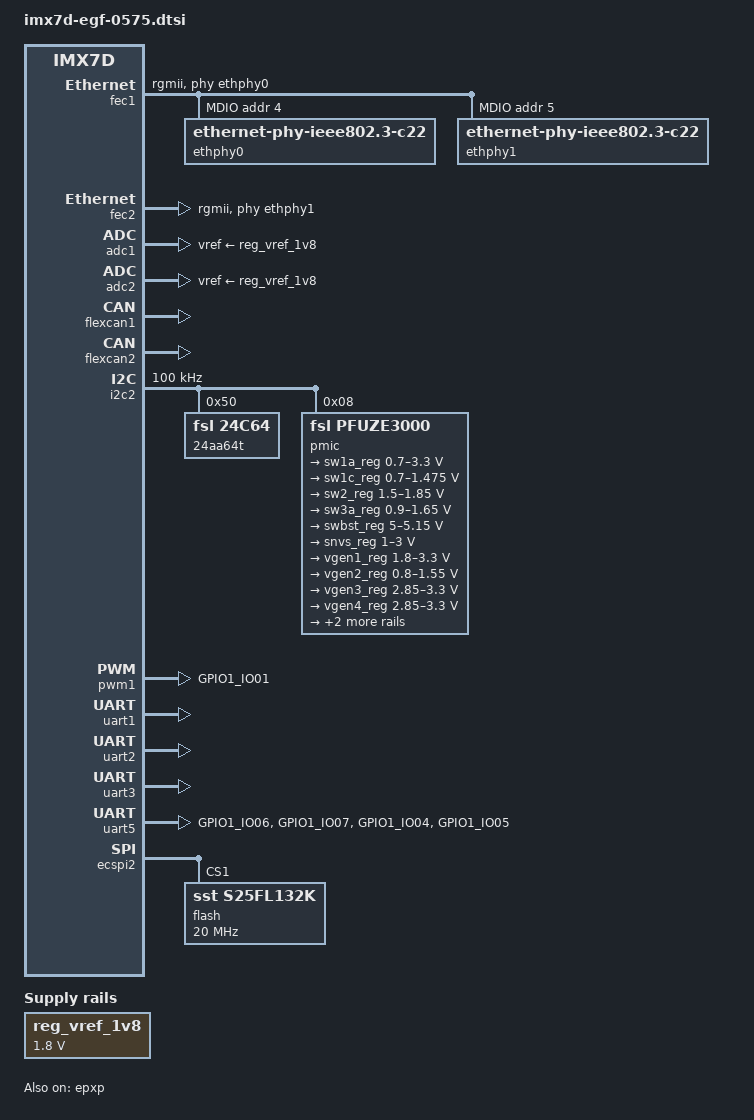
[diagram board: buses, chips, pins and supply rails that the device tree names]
/*
 * Copyright (C) 2015 Freescale Semiconductor, Inc.
 *
 * This program is free software; you can redistribute it and/or modify
 * it under the terms of the GNU General Public License version 2 as
 * published by the Free Software Foundation.
 */

/*
 * Parti in comune ad entrambi i moduli
 */

#include <dt-bindings/input/input.h>
#include "imx7d.dtsi"

/ {

	pxp_v4l2_out {
		compatible = "fsl,imx7d-pxp-v4l2", "fsl,imx6sx-pxp-v4l2", "fsl,imx6sl-pxp-v4l2";
		status = "okay";
	};

	regulators {
		compatible = "simple-bus";
		#address-cells = <1>;
		#size-cells = <0>;

		reg_vref_1v8: regulator@0 {
			compatible = "regulator-fixed";
			reg = <0>;
			regulator-name = "vref-1v8";
			regulator-min-microvolt = <1800000>;
			regulator-max-microvolt = <1800000>;
		};
	};
};


&fec1 {
	pinctrl-names = "default";
	pinctrl-0 = <>;
	assigned-clocks = <&clks IMX7D_ENET1_TIME_ROOT_SRC>,
			  <&clks IMX7D_ENET1_TIME_ROOT_CLK>;
	assigned-clock-parents = <&clks IMX7D_PLL_ENET_MAIN_100M_CLK>;
	assigned-clock-rates = <0>, <100000000>;
	phy-mode = "rgmii";
	phy-handle = <&ethphy0>;
	fsl,magic-packet;
	status = "okay";

	mdio {
		#address-cells = <1>;
		#size-cells = <0>;

		ethphy0: ethernet-phy@4 {
			compatible = "ethernet-phy-ieee802.3-c22";
			reg = <4>;
		};

		ethphy1: ethernet-phy@5 {
			compatible = "ethernet-phy-ieee802.3-c22";
			reg = <5>;
		};
	};
};

&fec2 {
	pinctrl-names = "default";
	pinctrl-0 = <>;
	assigned-clocks = <&clks IMX7D_ENET2_TIME_ROOT_SRC>,
			  <&clks IMX7D_ENET2_TIME_ROOT_CLK>;
	assigned-clock-parents = <&clks IMX7D_PLL_ENET_MAIN_100M_CLK>;
	assigned-clock-rates = <0>, <100000000>;
	phy-mode = "rgmii";
	phy-handle = <&ethphy1>;
	fsl,magic-packet;
	status = "okay";
};

/* adc1 */
&adc1 {
	vref-supply = <&reg_vref_1v8>;
	status = "okay";
};

/* adc2 */
&adc2 {
	vref-supply = <&reg_vref_1v8>;
	status = "okay";
};

&cpu0 {
	arm-supply = <&sw1a_reg>;
};

&epxp {
	status = "okay";
};

/* can1 */
&flexcan1 {
	status = "okay";
};

/* can2 */
&flexcan2 {
	status = "okay";
};

&i2c2 {
	clock-frequency = <100000>;
	pinctrl-names = "default";
	pinctrl-0 = <>;
	status = "okay";
	
	//eeprom factory data (som)
	/* eeprom */
	24aa64t@50 {
		compatible = "fsl,24c64";
		reg = <0x50>;
		pagesize = <32>;
	};
	
	/* pmic */
	pmic: pfuze3000@08 {
		compatible = "fsl,pfuze3000";
		reg = <0x08>;

		regulators {
			sw1a_reg: sw1a {
				regulator-min-microvolt = <700000>;
				regulator-max-microvolt = <3300000>;
				regulator-boot-on;
				regulator-always-on;
				regulator-ramp-delay = <6250>;
			};

			/* use sw1c_reg to align with pfuze100/pfuze200 */
			sw1c_reg: sw1b {
				regulator-min-microvolt = <700000>;
				regulator-max-microvolt = <1475000>;
				regulator-boot-on;
				regulator-always-on;
				regulator-ramp-delay = <6250>;
			};

			sw2_reg: sw2 {
				regulator-min-microvolt = <1500000>;
				regulator-max-microvolt = <1850000>;
				regulator-boot-on;
				regulator-always-on;
			};

			sw3a_reg: sw3 {
				regulator-min-microvolt = <900000>;
				regulator-max-microvolt = <1650000>;
				regulator-boot-on;
				regulator-always-on;
			};

			swbst_reg: swbst {
				regulator-min-microvolt = <5000000>;
				regulator-max-microvolt = <5150000>;
			};

			snvs_reg: vsnvs {
				regulator-min-microvolt = <1000000>;
				regulator-max-microvolt = <3000000>;
				regulator-boot-on;
				regulator-always-on;
			};

			vref_reg: vrefddr {
				regulator-boot-on;
				regulator-always-on;
			};

			vgen1_reg: vldo1 {
				regulator-min-microvolt = <1800000>;
				regulator-max-microvolt = <3300000>;
				regulator-always-on;
			};

			vgen2_reg: vldo2 {
				regulator-min-microvolt = <800000>;
				regulator-max-microvolt = <1550000>;
				regulator-always-on;
			};

			vgen3_reg: vccsd {
				regulator-min-microvolt = <2850000>;
				regulator-max-microvolt = <3300000>;
				regulator-always-on;
			};

			vgen4_reg: v33 {
				regulator-min-microvolt = <2850000>;
				regulator-max-microvolt = <3300000>;
				regulator-always-on;
			};

			vgen5_reg: vldo3 {
				regulator-min-microvolt = <1800000>;
				regulator-max-microvolt = <3300000>;
				regulator-always-on;
			};

			vgen6_reg: vldo4 {
				regulator-min-microvolt = <1800000>;
				regulator-max-microvolt = <3300000>;
				regulator-always-on;
			};
		};
	};
};

&iomuxc {
	pinctrl-names = "default";
	pinctrl-0 = <&pinctrl_hog>;

	imx7d-egf {
		pinctrl_hog: hoggrp {
			fsl,pins = <
				MX7D_PAD_UART3_TX_DATA__GPIO4_IO5	  0x14
			>;
		};
	
	

	};
};


&iomuxc_lpsr {
	imx7d-egf {
		pinctrl_pwm1: pwm1grp {
			fsl,pins = <
				MX7D_PAD_GPIO1_IO01__PWM1_OUT 0x30
			>;
		};
		
		pinctrl_uart5: uart5grp {
			fsl,pins = <
				MX7D_PAD_GPIO1_IO06__UART5_DCE_RX 0x79
				MX7D_PAD_GPIO1_IO07__UART5_DCE_TX 0x79
				MX7D_PAD_GPIO1_IO04__UART5_DCE_CTS 0x79
				MX7D_PAD_GPIO1_IO05__UART5_DCE_RTS 0x79
			>;
		};
	};
};

&sdma {
	status = "okay";
};

/* pwm1 */
&pwm1 {
	pinctrl-names = "default";
	pinctrl-0 = <&pinctrl_pwm1>;
	status = "okay";
};

/* uart1 */
&uart1 {
	pinctrl-names = "default";
	pinctrl-0 = <>;
	assigned-clocks = <&clks IMX7D_UART1_ROOT_SRC>;
	assigned-clock-parents = <&clks IMX7D_OSC_24M_CLK>;
	status = "okay";
};

/* uart2 */
&uart2 {
	pinctrl-names = "default";
	pinctrl-0 = <>;
	assigned-clocks = <&clks IMX7D_UART2_ROOT_SRC>;
	assigned-clock-parents = <&clks IMX7D_PLL_SYS_MAIN_240M_CLK>;
	status = "okay";
};

/* uart3 */
&uart3 {
	pinctrl-names = "default";
	pinctrl-0 = <>;
	assigned-clocks = <&clks IMX7D_UART3_ROOT_SRC>;
	assigned-clock-parents = <&clks IMX7D_PLL_SYS_MAIN_240M_CLK>;
	status = "okay";
};

/* uart5 */
&uart5 {
	pinctrl-names = "default";
	pinctrl-0 = <&pinctrl_uart5>;
	assigned-clocks = <&clks IMX7D_UART5_ROOT_SRC>;
	assigned-clock-parents = <&clks IMX7D_PLL_SYS_MAIN_240M_CLK>;
	fsl,uart-has-rtscts;
	status = "okay";
};

/* nand */
&gpmi {
	pinctrl-names = "default";
	pinctrl-0 = <>;
	status = "okay";
	nand-on-flash-bbt;
	status = "disabled";
};

/* spi nor */
&ecspi2 {
	fsl,spi-num-chipselects = <1>;
	cs-gpios = <&gpio4 23 0>;
	pinctrl-names = "default";
	pinctrl-0 = <>;
	status = "okay";
	
	flash: m25p80@1 {
		compatible = "sst,s25fl132k";
		spi-max-frequency = <20000000>;
		reg = <1>;
		#address-cells = <1>;
		#size-cells = <1>;
		mtd0@00000000 {
			label = "SPL";
			reg = <0x000000 0x040000>;
		};
		mtd1@00040000 {
			label = "UBOOT";
			reg = <0x040000 0x100000>;
		};
		mtd2@00140000 {
			label = "DATA";
			reg = <0x140000 0x2C0000>;
		};

	};	
};





